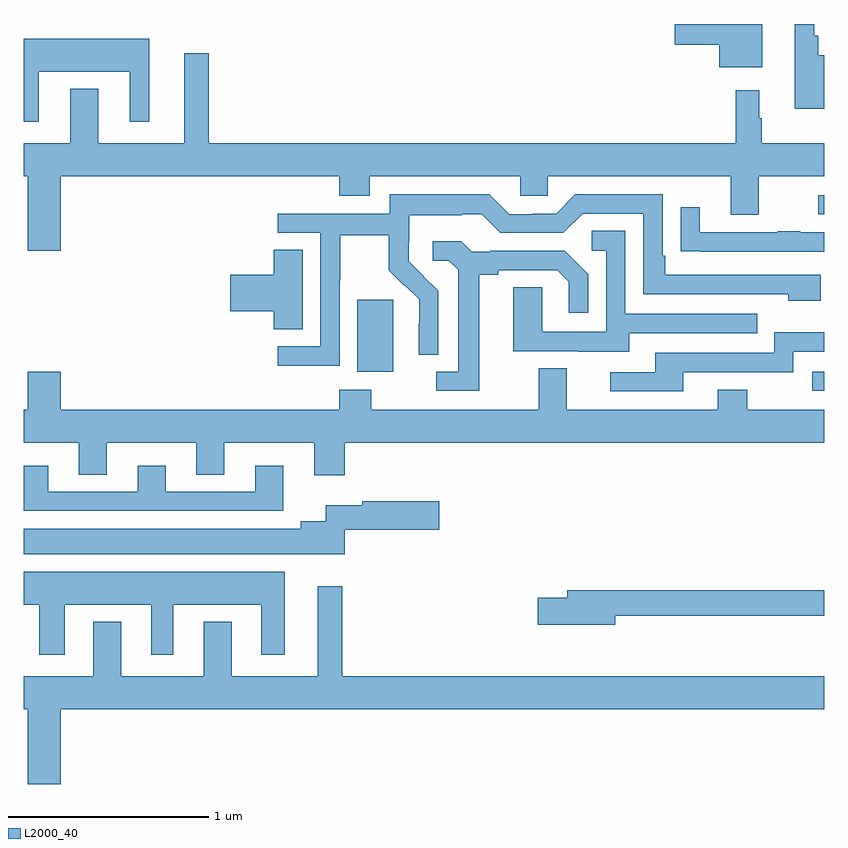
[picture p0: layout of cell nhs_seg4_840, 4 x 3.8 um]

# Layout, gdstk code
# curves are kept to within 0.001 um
import gdstk
lib = gdstk.Library(unit=1e-6, precision=1e-09)
def R(c, l, rs):  # rectangles x0, y0, x1, y1
    for r in rs: c.add(gdstk.rectangle(r[:2], r[2:], *l))
def P(c, l, *ps):  # polygons
    for p in ps: c.add(gdstk.Polygon(p, *l))
L2000_40 = (2000, 40)

nhs_seg4_840 = lib.new_cell('nhs_seg4_840')
R(nhs_seg4_840, L2000_40, [(156.939,809.067,157,809.163), (154.667,809.162,154.846,809.523), (156.969,809.949,157,810.045)])
P(nhs_seg4_840, L2000_40, [(157,810.745),(156.971,810.745),(156.971,810.841),(156.951,810.841),(156.951,810.9),(156.854,810.9),(156.854,810.476),(157,810.476)],
  [(156.691,810.9),(156.252,810.9),(156.252,810.797),(156.476,810.797),(156.476,810.683),(156.691,810.683)],
  [(153.076,810.662),(153.53,810.662),(153.53,810.411),(153.628,810.411),(153.628,810.826),(153,810.826),(153,810.411),(153.076,810.411)],
  [(153.184,810.14),(154.577,810.14),(154.577,810.041),(154.729,810.041),(154.729,810.14),(155.481,810.14),(155.481,810.042),(155.619,810.042),(155.619,810.14),(156.533,810.14),(156.533,809.946),(156.673,809.946),(156.673,810.14),(157,810.14),(157,810.304),(156.688,810.304),(156.688,810.428),(156.676,810.428),(156.676,810.568),(156.559,810.568),(156.559,810.304),(153.925,810.304),(153.925,810.754),(153.803,810.754),(153.803,810.304),(153.373,810.304),(153.373,810.577),(153.233,810.577),(153.233,810.304),(153,810.304),(153,810.14),(153.02,810.14),(153.02,809.766),(153.184,809.766)],
  [(154.578,809.62),(154.581,809.62),(154.581,809.844),(154.825,809.844),(154.825,809.669),(154.902,809.592),(154.905,809.595),(154.976,809.525),(154.976,809.402),(154.974,809.402),(154.974,809.248),(155.07,809.248),(155.07,809.566),(154.924,809.714),(154.924,809.811),(154.926,809.811),(154.926,809.945),(155.189,809.945),(155.189,809.949),(155.289,809.949),(155.382,809.856),(155.697,809.856),(155.793,809.952),(156.096,809.952),(156.096,809.55),(156.821,809.55),(156.821,809.516),(156.982,809.516),(156.982,809.646),(156.205,809.646),(156.205,809.743),(156.192,809.743),(156.192,810.048),(155.757,810.048),(155.661,809.952),(155.543,809.952),(155.543,809.949),(155.427,809.949),(155.327,810.049),(154.83,810.049),(154.83,809.952),(154.269,809.952),(154.269,809.856),(154.482,809.856),(154.482,809.289),(154.269,809.289),(154.269,809.191),(154.578,809.191)],
  [(157,809.859),(156.881,809.859),(156.881,809.864),(156.769,809.864),(156.769,809.859),(156.379,809.859),(156.379,809.983),(156.283,809.983),(156.283,809.764),(156.385,809.764),(156.385,809.763),(157,809.763)],
  [(156.025,809.355),(156.665,809.355),(156.665,809.451),(156.006,809.451),(156.006,809.867),(155.838,809.867),(155.838,809.766),(155.91,809.766),(155.91,809.361),(155.592,809.361),(155.592,809.585),(155.447,809.585),(155.447,809.265),(155.771,809.265),(155.771,809.261),(156.025,809.261)],
  [(155.275,809.648),(155.371,809.648),(155.371,809.67),(155.666,809.67),(155.723,809.613),(155.723,809.457),(155.82,809.457),(155.82,809.65),(155.704,809.766),(155.332,809.766),(155.332,809.763),(155.238,809.763),(155.186,809.815),(155.043,809.815),(155.043,809.718),(155.124,809.718),(155.171,809.671),(155.171,809.163),(155.061,809.163),(155.061,809.067),(155.275,809.067)],
  [(154.393,809.771),(154.25,809.771),(154.25,809.648),(154.032,809.648),(154.032,809.465),(154.25,809.465),(154.25,809.374),(154.393,809.374)],
  [(156.295,809.16),(156.846,809.16),(156.846,809.262),(157,809.262),(157,809.359),(156.75,809.359),(156.75,809.256),(156.155,809.256),(156.155,809.16),(155.931,809.16),(155.931,809.064),(156.295,809.064)],
  [(154.604,808.808),(157,808.808),(157,808.972),(156.615,808.972),(156.615,809.071),(156.467,809.071),(156.467,808.972),(155.713,808.972),(155.713,809.18),(155.573,809.18),(155.573,808.972),(154.737,808.972),(154.737,809.071),(154.577,809.071),(154.577,808.972),(153.184,808.972),(153.184,809.161),(153.02,809.161),(153.02,808.972),(153,808.972),(153,808.808),(153.275,808.808),(153.275,808.648),(153.415,808.648),(153.415,808.808),(153.863,808.808),(153.863,808.648),(154.003,808.648),(154.003,808.808),(154.451,808.808),(154.451,808.644),(154.604,808.644)],
  [(154.297,808.693),(154.157,808.693),(154.157,808.563),(153.709,808.563),(153.709,808.693),(153.569,808.693),(153.569,808.563),(153.121,808.563),(153.121,808.693),(153,808.693),(153,808.467),(154.297,808.467)],
  [(154.605,808.373),(155.077,808.373),(155.077,808.515),(154.692,808.515),(154.692,808.495),(154.509,808.495),(154.509,808.414),(154.385,808.414),(154.385,808.378),(153,808.378),(153,808.25),(154.605,808.25)],
  [(153.205,807.998),(153.638,807.998),(153.638,807.747),(153.748,807.747),(153.748,807.998),(154.187,807.998),(154.187,807.747),(154.303,807.747),(154.303,808.162),(153,808.162),(153,807.998),(153.077,807.998),(153.077,807.747),(153.205,807.747)],
  [(153.184,807.476),(157,807.476),(157,807.64),(154.591,807.64),(154.591,808.09),(154.469,808.09),(154.469,807.64),(154.039,807.64),(154.039,807.913),(153.899,807.913),(153.899,807.64),(153.487,807.64),(153.487,807.913),(153.347,807.913),(153.347,807.64),(153,807.64),(153,807.476),(153.02,807.476),(153.02,807.102),(153.184,807.102)],
  [(155.956,807.942),(157,807.942),(157,808.07),(155.717,808.07),(155.717,808.034),(155.568,808.034),(155.568,807.899),(155.956,807.899)])

lib.write_gds('nhs_seg4_840.gds')
